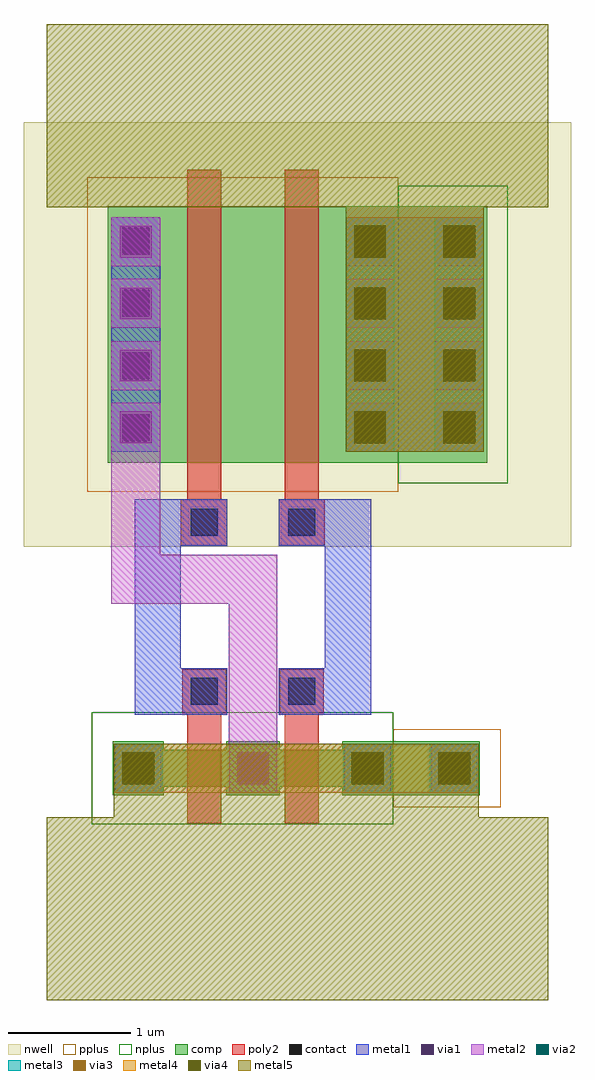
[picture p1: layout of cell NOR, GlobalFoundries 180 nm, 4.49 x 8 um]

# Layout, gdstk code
import gdstk
lib = gdstk.Library(unit=1e-6, precision=1e-09)
def R(c, l, rs):  # rectangles x0, y0, x1, y1
    for r in rs: c.add(gdstk.rectangle(r[:2], r[2:], *l))
def A(c, l, x, y, w, h, nx, ny, dx, dy):  # array of equal rectangles
    R(c, l, [(x+i*dx, y+j*dy, x+i*dx+w, y+j*dy+h) for i in range(nx) for j in range(ny)])
nwell = (21, 0)
comp = (22, 0)
poly2 = (30, 0)
pplus = (31, 0)
nplus = (32, 0)
contact = (33, 0)
metal1 = (34, 0)
via1 = (35, 0)
metal2 = (36, 0)
via2 = (38, 0)
via3 = (40, 0)
via4 = (41, 0)
metal3 = (42, 0)
metal4 = (46, 0)
metal5 = (81, 0)

nor = lib.new_cell('NOR')
R(nor, nwell, [(-0.19,3.715,4.3,7.195)])
R(nor, comp, [(0.54,1.68,0.96,2.12), (1.47,1.68,1.91,2.12), (2.42,1.68,2.84,2.12), (2.84,1.68,3.55,2.12), (0.96,1.75,2.42,2.05), (0.5,4.405,0.96,6.505), (0.96,4.405,2.42,6.505), (2.42,4.405,2.88,6.505), (2.88,4.405,3.61,6.505)])
R(nor, poly2, [(1.15,1.45,1.43,2.35), (1.95,1.45,2.23,2.35), (1.11,2.35,1.47,2.71), (1.91,2.35,2.27,2.71), (1.1,3.725,1.48,4.105), (1.9,3.725,2.28,4.105), (1.15,4.105,1.43,6.805), (1.95,4.105,2.23,6.805)])
R(nor, pplus, [(2.84,1.58,3.72,2.22), (0.33,4.165,2.88,6.745)])
R(nor, nplus, [(0.37,1.44,2.84,2.36), (2.88,4.235,3.78,6.675)])
A(nor, contact, 0.64, 1.79, 0.22, 0.22, 3, 1, 0.94, 0)
A(nor, contact, 0.62, 4.58, 0.22, 0.22, 1, 4, 0, 0.51)
A(nor, contact, 2.54, 4.58, 0.22, 0.22, 1, 4, 0, 0.51)
A(nor, contact, 3.27, 4.58, 0.22, 0.22, 1, 4, 0, 0.51)
R(nor, contact, [(3.23,1.79,3.45,2.01), (1.18,2.42,1.4,2.64), (1.98,2.42,2.2,2.64), (1.18,3.805,1.4,4.025), (1.98,3.805,2.2,4.025)])
R(nor, metal1, [(1.49,1.7,1.89,2.1), (0.56,1.71,0.94,2.09), (2.44,1.71,2.82,2.09), (3.15,1.71,3.53,2.09), (0.72,2.34,1.1,4.105), (1.1,2.34,1.48,2.72), (1.9,2.34,2.28,2.72), (2.28,2.34,2.66,4.105), (1.1,3.725,1.48,4.105), (1.9,3.725,2.28,4.105), (0.53,4.495,0.93,6.415), (0.53,4.495,0.93,4.895), (2.45,4.495,3.58,6.415), (2.45,4.495,2.85,4.895), (3.18,4.495,3.58,4.895), (0.54,4.5,0.92,6.41), (2.46,4.5,2.84,6.41), (3.19,4.5,3.57,6.41), (0.53,5,0.93,5.4), (2.45,5,2.85,5.4), (3.18,5,3.58,5.4), (0.53,5.51,0.93,5.91), (2.45,5.51,2.85,5.91), (3.18,5.51,3.58,5.91), (0.53,6.015,0.93,6.415), (2.45,6.015,2.85,6.415), (3.18,6.015,3.58,6.415)])
R(nor, via1, [(1.56,1.77,1.82,2.03), (0.6,4.565,0.86,4.825), (2.52,4.565,2.78,4.825), (3.25,4.565,3.51,4.825), (0.6,5.07,0.86,5.33), (2.52,5.07,2.78,5.33), (3.25,5.07,3.51,5.33), (0.6,5.58,0.86,5.84), (2.52,5.58,2.78,5.84), (3.25,5.58,3.51,5.84), (0.6,6.085,0.86,6.345), (2.52,6.085,2.78,6.345), (3.25,6.085,3.51,6.345)])
A(nor, metal2, 0.55, 1.7, 0.4, 0.4, 3, 1, 0.94, 0)
R(nor, metal2, [(3.14,1.7,3.54,2.1), (1.49,2.1,1.89,3.25), (0.53,3.25,1.89,3.65), (0.53,3.65,0.93,4.495), (0.53,4.495,0.93,4.895), (2.45,4.495,2.85,4.895), (3.18,4.495,3.58,4.895), (0.53,5,0.93,5.4), (2.45,5,2.85,5.4), (3.18,5,3.58,5.4), (0.53,5.51,0.93,5.91), (2.45,5.51,2.85,5.91), (3.18,5.51,3.58,5.91), (0.53,6.015,0.93,6.415), (2.45,6.015,2.85,6.415), (3.18,6.015,3.58,6.415)])
R(nor, via2, [(0.62,1.77,0.88,2.03), (2.5,1.77,2.76,2.03), (3.21,1.77,3.47,2.03), (2.52,4.565,2.78,4.825), (3.25,4.565,3.51,4.825), (2.52,5.07,2.78,5.33), (3.25,5.07,3.51,5.33), (2.52,5.58,2.78,5.84), (3.25,5.58,3.51,5.84), (2.52,6.085,2.78,6.345), (3.25,6.085,3.51,6.345)])
R(nor, via3, [(0.62,1.77,0.88,2.03), (2.5,1.77,2.76,2.03), (3.21,1.77,3.47,2.03), (2.52,4.565,2.78,4.825), (3.25,4.565,3.51,4.825), (2.52,5.07,2.78,5.33), (3.25,5.07,3.51,5.33), (2.52,5.58,2.78,5.84), (3.25,5.58,3.51,5.84), (2.52,6.085,2.78,6.345), (3.25,6.085,3.51,6.345)])
R(nor, via4, [(0.62,1.77,0.88,2.03), (2.5,1.77,2.76,2.03), (3.21,1.77,3.47,2.03), (2.52,4.565,2.78,4.825), (3.25,4.565,3.51,4.825), (2.52,5.07,2.78,5.33), (3.25,5.07,3.51,5.33), (2.52,5.58,2.78,5.84), (3.25,5.58,3.51,5.84), (2.52,6.085,2.78,6.345), (3.25,6.085,3.51,6.345)])
R(nor, metal3, [(0.55,1.7,0.95,2.1), (2.43,1.7,2.83,2.1), (3.14,1.7,3.54,2.1), (2.45,4.495,2.85,6.415), (2.45,4.495,2.85,4.895), (3.18,4.495,3.58,6.415), (3.18,4.495,3.58,4.895), (2.45,5,2.85,5.4), (3.18,5,3.58,5.4), (2.45,5.51,2.85,5.91), (3.18,5.51,3.58,5.91), (2.45,6.015,2.85,6.415), (3.18,6.015,3.58,6.415)])
R(nor, metal4, [(0.55,1.7,3.54,2.1), (0.55,1.7,0.95,2.1), (2.43,1.7,2.83,2.1), (3.14,1.7,3.54,2.1), (2.45,4.495,3.58,6.415), (2.45,4.495,2.85,4.895), (3.18,4.495,3.58,4.895), (2.45,5,2.85,5.4), (3.18,5,3.58,5.4), (2.45,5.51,2.85,5.91), (3.18,5.51,3.58,5.91), (2.45,6.015,2.85,6.415), (3.18,6.015,3.58,6.415)])
R(nor, metal5, [(0,0,4.11,1.5), (0.55,1.5,3.54,2.1), (0.55,1.7,0.95,2.1), (2.43,1.7,2.83,2.1), (3.14,1.7,3.54,2.1), (2.45,4.495,3.58,6.5), (2.45,4.495,2.85,4.895), (3.18,4.495,3.58,4.895), (2.45,5,2.85,5.4), (3.18,5,3.58,5.4), (2.45,5.51,2.85,5.91), (3.18,5.51,3.58,5.91), (2.45,6.015,2.85,6.415), (3.18,6.015,3.58,6.415), (0,6.5,4.11,8)])

lib.write_gds('NOR.gds')
